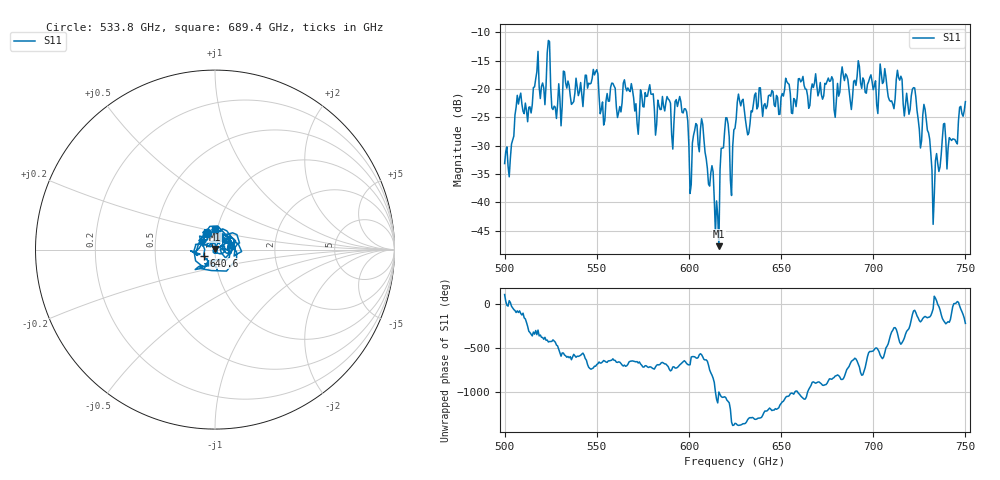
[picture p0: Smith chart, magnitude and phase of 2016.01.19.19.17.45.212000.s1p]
!Created with skrf (http://scikit-rf.org).
# GHz S RI R 50.0
!freq ReS11 ImS11
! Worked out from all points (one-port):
!   401 points, 500 GHz to 750 GHz, reference 50 ohm
!   lowest |S11| = -47.7 dB at 616.2 GHz (marker M1), VSWR 1.01, Z = 50 + j0.41 ohm
!   |S11| at or under -10 dB: start of sweep to end of sweep
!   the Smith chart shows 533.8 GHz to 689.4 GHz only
!   S11 on the Smith chart (normalised r, x): 533.8 GHz: 0.90, +0.17; 640.6 GHz: 0.88, -0.06; 689.4 GHz: 0.98, +0.23
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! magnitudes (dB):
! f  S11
! 500 GHz  -33.1
! 507.5 GHz  -22.7
! 513.8 GHz  -23.1
! 523.8 GHz  -11.4
! 526.9 GHz  -23.0
! 531.2 GHz  -23.0
! 533.8 GHz  -19.9
! 549.4 GHz  -17.0
! 553.1 GHz  -22.3
! 558.8 GHz  -19.0
! 562.5 GHz  -23.1
! 593.8 GHz  -23.1
! 601.2 GHz  -36.8
! 607.5 GHz  -26.2
! 615 GHz  -39.7
! 616.2 GHz  -47.7
! 619.4 GHz  -27.4
! 623.1 GHz  -38.8
! 625 GHz  -26.9
! 640.6 GHz  -22.9
! 656.2 GHz  -24.3
! 687.5 GHz  -22.0
! 689.4 GHz  -18.7
! 714.4 GHz  -18.4
! 718.8 GHz  -22.7
! 728.1 GHz  -23.6
! 732.5 GHz  -43.9
! 750 GHz  -22.2
